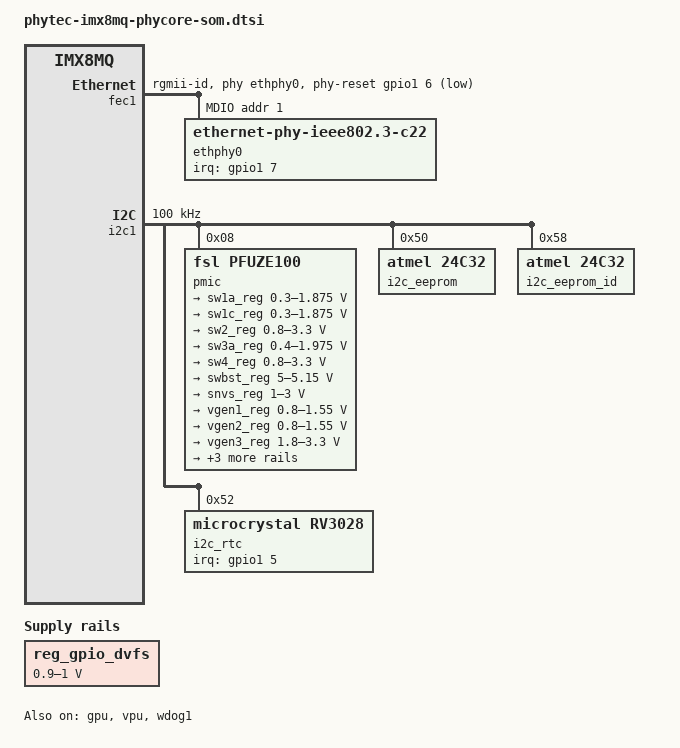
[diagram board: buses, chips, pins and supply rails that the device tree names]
/*
 * Copyright (C) 2018 PHYTEC Messtechnik GmbH
 * Author: Christian Hemp <c.hemp@phytec.de>
 *
 * This program is free software; you can redistribute it and/or
 * modify it under the terms of the GNU General Public License
 * as published by the Free Software Foundation; either version 2
 * of the License, or (at your option) any later version.
 *
 * This program is distributed in the hope that it will be useful,
 * but WITHOUT ANY WARRANTY; without even the implied warranty of
 * MERCHANTABILITY or FITNESS FOR A PARTICULAR PURPOSE.  See the
 * GNU General Public License for more details.
 */

#include "fsl-imx8mq.dtsi"
#include <dt-bindings/gpio/gpio.h>
#include <dt-bindings/net/ti-dp83867.h>

/ {

	aliases {
		rtc0 = &i2c_rtc;
	};

	reg_gpio_dvfs: regulator-gpio {
		compatible = "regulator-gpio";
		pinctrl-names = "default";
		pinctrl-0 = <&pinctrl_dvfs>;
		regulator-min-microvolt = <900000>;
		regulator-max-microvolt = <1000000>;
		regulator-name = "gpio_dvfs";
		regulator-type = "voltage";
		gpios = <&gpio1 0 GPIO_ACTIVE_HIGH>;
		states = <900000 0x1 1000000 0x0>;
	};

	thermal-zones {
		cpu-thermal {
			thermal-sensors = <&tmu 0>;
		};
	};
};

&A53_0 {
	operating-points = <
		/* kHz	uV */
		1500000 1000000
		1300000 1000000
		1000000	900000
		800000	900000
	>;
	dc-supply = <&reg_gpio_dvfs>;
};

&fec1 {
	pinctrl-names = "default";
	pinctrl-0 = <&pinctrl_fec1>;
	phy-mode = "rgmii-id";
	phy-handle = <&ethphy0>;
	phy-reset-gpios = <&gpio1 6 GPIO_ACTIVE_LOW>;
	fsl,magic-packet;
	status = "okay";

	mdio {
		#address-cells = <1>;
		#size-cells = <0>;

		ethphy0: ethernet-phy@1 {
			compatible = "ethernet-phy-ieee802.3-c22";
			reg = <1>;
			interrupt-parent = <&gpio1>;
			interrupts = <7 IRQ_TYPE_EDGE_FALLING>;
			ti,rx-internal-delay = <DP83867_RGMIIDCTL_2_00_NS>;
			ti,tx-internal-delay = <DP83867_RGMIIDCTL_2_00_NS>;
			ti,fifo-depth = <DP83867_PHYCR_FIFO_DEPTH_4_B_NIB>;
			enet-phy-lane-no-swap;

		};
	};
};

&gpu {
	status = "okay";
};

&gpu_pd {
	power-supply = <&sw1a_reg>;
};

&i2c1 {
	clock-frequency = <100000>;
	pinctrl-names = "default";
	pinctrl-0 = <&pinctrl_i2c1>;
	status = "okay";

	pmic: pfuze100@08 {
		compatible = "fsl,pfuze100";
		reg = <0x08>;

		regulators {
			sw1a_reg: sw1ab {
				regulator-min-microvolt = <300000>;
				regulator-max-microvolt = <1875000>;
			};

			sw1c_reg: sw1c {
				regulator-min-microvolt = <300000>;
				regulator-max-microvolt = <1875000>;
			};

			sw2_reg: sw2 {
				regulator-min-microvolt = <800000>;
				regulator-max-microvolt = <3300000>;
				regulator-always-on;
			};

			sw3a_reg: sw3ab {
				regulator-min-microvolt = <400000>;
				regulator-max-microvolt = <1975000>;
				regulator-always-on;
			};

			sw4_reg: sw4 {
				regulator-min-microvolt = <800000>;
				regulator-max-microvolt = <3300000>;
				regulator-always-on;
			};

			swbst_reg: swbst {
				regulator-min-microvolt = <5000000>;
				regulator-max-microvolt = <5150000>;
			};

			snvs_reg: vsnvs {
				regulator-min-microvolt = <1000000>;
				regulator-max-microvolt = <3000000>;
				regulator-always-on;
			};

			vref_reg: vrefddr {
				regulator-always-on;
			};

			vgen1_reg: vgen1 {
				regulator-min-microvolt = <800000>;
				regulator-max-microvolt = <1550000>;
			};

			vgen2_reg: vgen2 {
				regulator-min-microvolt = <800000>;
				regulator-max-microvolt = <1550000>;
				regulator-always-on;
			};

			vgen3_reg: vgen3 {
				regulator-min-microvolt = <1800000>;
				regulator-max-microvolt = <3300000>;
				regulator-always-on;
			};

			vgen4_reg: vgen4 {
				regulator-min-microvolt = <1800000>;
				regulator-max-microvolt = <3300000>;
				regulator-always-on;
			};

			vgen5_reg: vgen5 {
				regulator-min-microvolt = <1800000>;
				regulator-max-microvolt = <3300000>;
				regulator-always-on;
			};

			vgen6_reg: vgen6 {
				regulator-min-microvolt = <1800000>;
				regulator-max-microvolt = <3300000>;
			};
		};
	};

	i2c_eeprom: eeprom@50 {
		compatible = "atmel,24c32";
		reg = <0x50>;
		pagesize = <32>;
	};

	i2c_eeprom_id: eeprom@58 {
		compatible = "atmel,24c32";
		reg = <0x58>;
		pagesize = <32>;
	};

	i2c_rtc: rtc@52 {
		pinctrl-names = "default";
		pinctrl-0 = <&pinctrl_rtc>;
		compatible = "microcrystal,rv3028";
		reg = <0x52>;
		interrupt-parent = <&gpio1>;
		interrupts = <5 IRQ_TYPE_LEVEL_LOW>;
		wakeup-source;
		trickle-resistor-ohms = <1000>;
		enable-level-switching-mode;
	};
};

&tmu {
	#thermal-sensor-cells =  <1>;
};

&usdhc1 {
	pinctrl-names = "default", "state_100mhz", "state_200mhz";
	pinctrl-0 = <&pinctrl_usdhc1>;
	pinctrl-1 = <&pinctrl_usdhc1_100mhz>;
	pinctrl-2 = <&pinctrl_usdhc1_200mhz>;
	bus-width = <8>;
	non-removable;
	status = "disabled";
};

&vpu {
	status = "okay";
};

&vpu_pd {
	power-supply = <&sw1c_reg>;
};

&wdog1 {
	pinctrl-names = "default";
	pinctrl-0 = <&pinctrl_wdog>;
	fsl,ext-reset-output;
	status = "okay";
};

&iomuxc {
	pcl066 {
		pinctrl_dvfs: dvfsgrp {
			fsl,pins = <
				MX8MQ_IOMUXC_GPIO1_IO00_GPIO1_IO0	0x16
			>;
		};

		pinctrl_fec1: fec1grp {
			fsl,pins = <
				MX8MQ_IOMUXC_ENET_MDC_ENET1_MDC			0x3
				MX8MQ_IOMUXC_ENET_MDIO_ENET1_MDIO		0x23
				MX8MQ_IOMUXC_ENET_TD3_ENET1_RGMII_TD3		0x1f
				MX8MQ_IOMUXC_ENET_TD2_ENET1_RGMII_TD2		0x1f
				MX8MQ_IOMUXC_ENET_TD1_ENET1_RGMII_TD1		0x1f
				MX8MQ_IOMUXC_ENET_TD0_ENET1_RGMII_TD0		0x1f
				MX8MQ_IOMUXC_ENET_RD3_ENET1_RGMII_RD3		0x90
				MX8MQ_IOMUXC_ENET_RD2_ENET1_RGMII_RD2		0x90
				MX8MQ_IOMUXC_ENET_RD1_ENET1_RGMII_RD1		0x90
				MX8MQ_IOMUXC_ENET_RD0_ENET1_RGMII_RD0		0x90
				MX8MQ_IOMUXC_ENET_TXC_ENET1_RGMII_TXC		0x1f
				MX8MQ_IOMUXC_ENET_RXC_ENET1_RGMII_RXC		0x90
				MX8MQ_IOMUXC_ENET_RX_CTL_ENET1_RGMII_RX_CTL	0x90
				MX8MQ_IOMUXC_ENET_TX_CTL_ENET1_RGMII_TX_CTL	0x1f
				MX8MQ_IOMUXC_GPIO1_IO06_GPIO1_IO6		0x18
			>;
		};

		pinctrl_i2c1: i2c1grp {
			fsl,pins = <
				MX8MQ_IOMUXC_I2C1_SCL_I2C1_SCL		0x4000007f
				MX8MQ_IOMUXC_I2C1_SDA_I2C1_SDA		0x4000007f
			>;
		};

		pinctrl_rtc: rtcgrp {
			fsl,pins = <
				MX8MQ_IOMUXC_GPIO1_IO05_GPIO1_IO5	0x18
			>;
		};

		pinctrl_usdhc1: usdhc1grp {
			fsl,pins = <
				MX8MQ_IOMUXC_SD1_CLK_USDHC1_CLK			0x83
				MX8MQ_IOMUXC_SD1_CMD_USDHC1_CMD			0xc3
				MX8MQ_IOMUXC_SD1_DATA0_USDHC1_DATA0		0xc3
				MX8MQ_IOMUXC_SD1_DATA1_USDHC1_DATA1		0xc3
				MX8MQ_IOMUXC_SD1_DATA2_USDHC1_DATA2		0xc3
				MX8MQ_IOMUXC_SD1_DATA3_USDHC1_DATA3		0xc3
				MX8MQ_IOMUXC_SD1_DATA4_USDHC1_DATA4		0xc3
				MX8MQ_IOMUXC_SD1_DATA5_USDHC1_DATA5		0xc3
				MX8MQ_IOMUXC_SD1_DATA6_USDHC1_DATA6		0xc3
				MX8MQ_IOMUXC_SD1_DATA7_USDHC1_DATA7		0xc3
				MX8MQ_IOMUXC_SD1_STROBE_USDHC1_STROBE		0x83
				MX8MQ_IOMUXC_SD1_RESET_B_USDHC1_RESET_B		0xc1
			>;
		};

		pinctrl_usdhc1_100mhz: usdhc1grp100mhz {
			fsl,pins = <
				MX8MQ_IOMUXC_SD1_CLK_USDHC1_CLK			0x85
				MX8MQ_IOMUXC_SD1_CMD_USDHC1_CMD			0xc5
				MX8MQ_IOMUXC_SD1_DATA0_USDHC1_DATA0		0xc5
				MX8MQ_IOMUXC_SD1_DATA1_USDHC1_DATA1		0xc5
				MX8MQ_IOMUXC_SD1_DATA2_USDHC1_DATA2		0xc5
				MX8MQ_IOMUXC_SD1_DATA3_USDHC1_DATA3		0xc5
				MX8MQ_IOMUXC_SD1_DATA4_USDHC1_DATA4		0xc5
				MX8MQ_IOMUXC_SD1_DATA5_USDHC1_DATA5		0xc5
				MX8MQ_IOMUXC_SD1_DATA6_USDHC1_DATA6		0xc5
				MX8MQ_IOMUXC_SD1_DATA7_USDHC1_DATA7		0xc5
				MX8MQ_IOMUXC_SD1_STROBE_USDHC1_STROBE		0x85
				MX8MQ_IOMUXC_SD1_RESET_B_USDHC1_RESET_B		0xc1
			>;
		};

		pinctrl_usdhc1_200mhz: usdhc1grp200mhz {
			fsl,pins = <
				MX8MQ_IOMUXC_SD1_CLK_USDHC1_CLK			0x87
				MX8MQ_IOMUXC_SD1_CMD_USDHC1_CMD			0xc7
				MX8MQ_IOMUXC_SD1_DATA0_USDHC1_DATA0		0xc7
				MX8MQ_IOMUXC_SD1_DATA1_USDHC1_DATA1		0xc7
				MX8MQ_IOMUXC_SD1_DATA2_USDHC1_DATA2		0xc7
				MX8MQ_IOMUXC_SD1_DATA3_USDHC1_DATA3		0xc7
				MX8MQ_IOMUXC_SD1_DATA4_USDHC1_DATA4		0xc7
				MX8MQ_IOMUXC_SD1_DATA5_USDHC1_DATA5		0xc7
				MX8MQ_IOMUXC_SD1_DATA6_USDHC1_DATA6		0xc7
				MX8MQ_IOMUXC_SD1_DATA7_USDHC1_DATA7		0xc7
				MX8MQ_IOMUXC_SD1_STROBE_USDHC1_STROBE		0x87
				MX8MQ_IOMUXC_SD1_RESET_B_USDHC1_RESET_B		0xc1
			>;
		};

		pinctrl_wdog: wdoggrp {
			fsl,pins = <
				MX8MQ_IOMUXC_GPIO1_IO02_WDOG1_WDOG_B		0xc6
			>;
		};
	};
};
